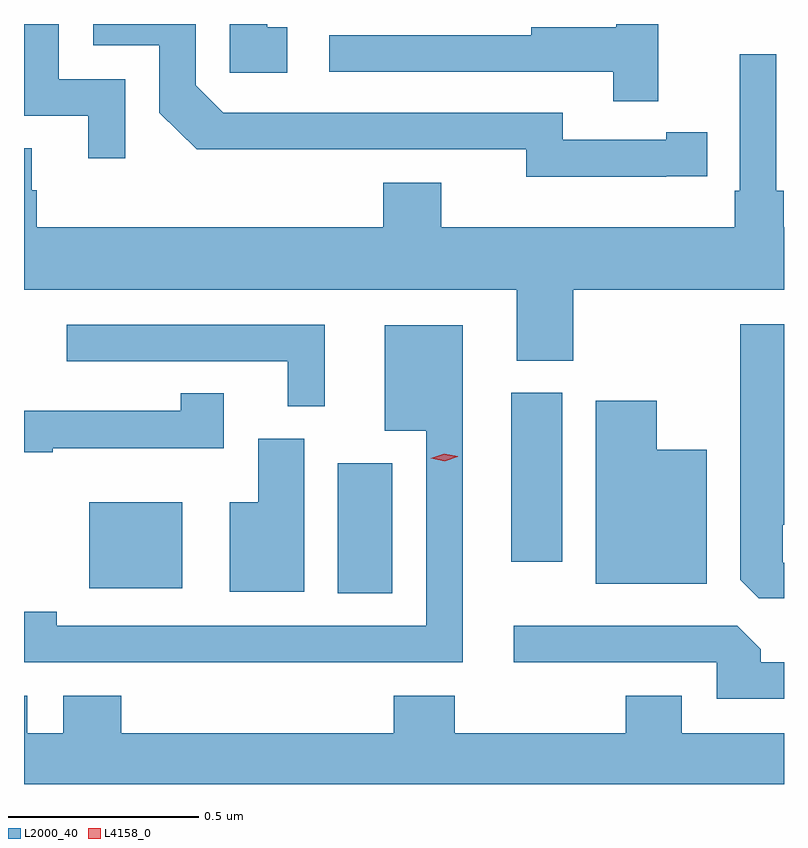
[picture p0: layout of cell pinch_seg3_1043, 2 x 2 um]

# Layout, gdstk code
import gdstk
lib = gdstk.Library(unit=1e-6, precision=1e-09)
def R(c, l, rs):  # rectangles x0, y0, x1, y1
    for r in rs: c.add(gdstk.rectangle(r[:2], r[2:], *l))
def P(c, l, *ps):  # polygons
    for p in ps: c.add(gdstk.Polygon(p, *l))
L2000_40 = (2000, 40)
L4158_0 = (4158, 0)

pinch_seg3_1043 = lib.new_cell('pinch_seg3_1043')
R(pinch_seg3_1043, L2000_40, [(516.776,697.453,516.919,697.795), (516.122,697.466,516.367,697.693), (517.232,697.536,517.366,697.98)])
P(pinch_seg3_1043, L2000_40, [(517.619,698.951),(517.509,698.951),(517.509,698.942),(517.285,698.942),(517.285,698.922),(516.753,698.922),(516.753,698.826),(517.501,698.826),(517.501,698.748),(517.619,698.748)],
  [(516.216,698.805),(516.042,698.805),(516.042,698.951),(515.95,698.951),(515.95,698.709),(516.119,698.709),(516.119,698.598),(516.216,698.598)],
  [(516.643,698.943),(516.59,698.943),(516.59,698.951),(516.492,698.951),(516.492,698.823),(516.643,698.823)],
  [(517.64,698.55),(517.748,698.55),(517.748,698.666),(517.64,698.666),(517.64,698.646),(517.368,698.646),(517.368,698.718),(516.474,698.718),(516.402,698.79),(516.402,698.951),(516.132,698.951),(516.132,698.895),(516.306,698.895),(516.306,698.718),(516.404,698.621),(516.812,698.621),(516.812,698.622),(517.272,698.622),(517.272,698.549),(517.64,698.549)],
  [(517.395,698.252),(517.95,698.252),(517.95,698.416),(517.949,698.416),(517.949,698.512),(517.93,698.512),(517.93,698.872),(517.833,698.872),(517.833,698.512),(517.82,698.512),(517.82,698.416),(517.048,698.416),(517.048,698.533),(516.895,698.533),(516.895,698.416),(515.984,698.416),(515.984,698.514),(515.971,698.514),(515.971,698.624),(515.95,698.624),(515.95,698.252),(517.247,698.252),(517.247,698.065),(517.395,698.065)],
  [(517.95,697.533),(517.947,697.533),(517.947,697.633),(517.95,697.633),(517.95,698.161),(517.835,698.161),(517.835,697.489),(517.884,697.44),(517.95,697.44)],
  [(516.742,698.16),(516.063,698.16),(516.063,698.064),(516.644,698.064),(516.644,697.945),(516.742,697.945)],
  [(516.839,697.272),(517.104,697.272),(517.104,698.158),(516.899,698.158),(516.899,697.88),(517.008,697.88),(517.008,697.368),(516.036,697.368),(516.036,697.404),(515.95,697.404),(515.95,697.272),(516.289,697.272),(516.289,697.271),(516.839,697.271)],
  [(516.026,697.835),(516.475,697.835),(516.475,697.979),(516.362,697.979),(516.362,697.933),(515.95,697.933),(515.95,697.824),(516.026,697.824)],
  [(517.747,697.831),(517.615,697.831),(517.615,697.96),(517.454,697.96),(517.454,697.478),(517.747,697.478)],
  [(516.688,697.86),(516.566,697.86),(516.566,697.693),(516.491,697.693),(516.491,697.457),(516.688,697.457)],
  [(517.95,697.272),(517.889,697.272),(517.889,697.306),(517.827,697.368),(517.239,697.368),(517.239,697.272),(517.773,697.272),(517.773,697.176),(517.95,697.176)],
  [(517.95,697.084),(517.681,697.084),(517.681,697.183),(517.534,697.183),(517.534,697.084),(517.083,697.084),(517.083,697.183),(516.923,697.183),(516.923,697.084),(516.206,697.084),(516.206,697.183),(516.053,697.183),(516.053,697.084),(515.959,697.084),(515.959,697.183),(515.95,697.183),(515.95,696.951),(517.95,696.951)])
P(pinch_seg3_1043, L4158_0, [(517.057,697.8),(517.021,697.808),(517.02,697.808),(517.021,697.808),(517.056,697.82),(517.092,697.813),(517.092,697.812),(517.092,697.812)])

lib.write_gds('pinch_seg3_1043.gds')
